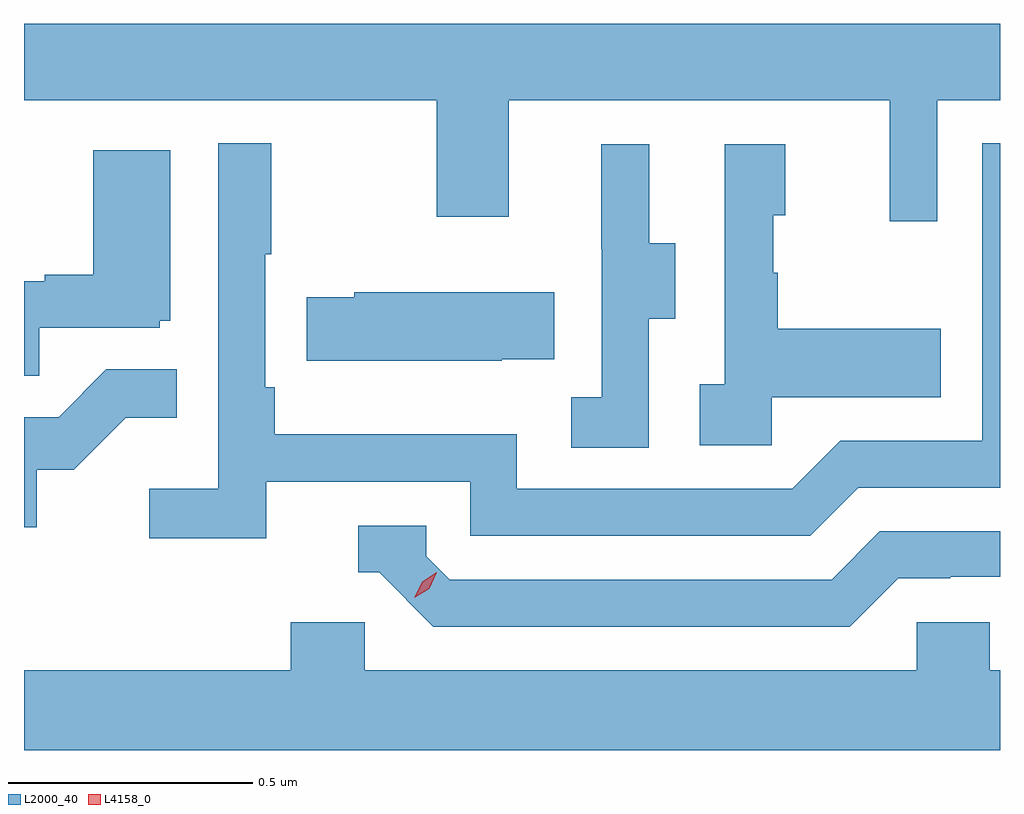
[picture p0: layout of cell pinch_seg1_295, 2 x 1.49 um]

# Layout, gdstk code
import gdstk
lib = gdstk.Library(unit=1e-6, precision=1e-09)
def P(c, l, *ps):  # polygons
    for p in ps: c.add(gdstk.Polygon(p, *l))
L2000_40 = (2000, 40)
L4158_0 = (4158, 0)

pinch_seg1_295 = lib.new_cell('pinch_seg1_295')
P(pinch_seg1_295, L2000_40, [(924.537,547.736),(924.666,547.736),(924.666,547.892),(922.666,547.892),(922.666,547.736),(923.512,547.736),(923.512,547.497),(923.659,547.497),(923.659,547.736),(924.44,547.736),(924.44,547.488),(924.537,547.488)],
  [(923.162,546.954),(923.58,546.954),(923.58,546.843),(924.277,546.843),(924.376,546.942),(924.666,546.942),(924.666,547.647),(924.63,547.647),(924.63,547.038),(924.339,547.038),(924.24,546.939),(923.676,546.939),(923.676,547.051),(923.18,547.051),(923.18,547.147),(923.16,547.147),(923.16,547.42),(923.173,547.42),(923.173,547.648),(923.064,547.648),(923.064,546.94),(922.923,546.94),(922.923,546.838),(923.162,546.838)],
  [(924.198,547.127),(924.545,547.127),(924.545,547.267),(924.211,547.267),(924.211,547.382),(924.201,547.382),(924.201,547.5),(924.226,547.5),(924.226,547.645),(924.102,547.645),(924.102,547.154),(924.051,547.154),(924.051,547.029),(924.198,547.029)],
  [(923.946,547.288),(924.001,547.288),(924.001,547.443),(923.947,547.443),(923.947,547.645),(923.849,547.645),(923.849,547.431),(923.85,547.431),(923.85,547.127),(923.787,547.127),(923.787,547.024),(923.946,547.024)],
  [(922.697,547.269),(922.944,547.269),(922.944,547.284),(922.966,547.284),(922.966,547.633),(922.808,547.633),(922.808,547.378),(922.709,547.378),(922.709,547.365),(922.666,547.365),(922.666,547.171),(922.697,547.171)],
  [(923.645,547.205),(923.753,547.205),(923.753,547.342),(923.343,547.342),(923.343,547.332),(923.245,547.332),(923.245,547.202),(923.645,547.202)],
  [(922.692,546.978),(922.768,546.978),(922.875,547.085),(922.979,547.085),(922.979,547.184),(922.835,547.184),(922.737,547.086),(922.666,547.086),(922.666,546.861),(922.692,546.861)],
  [(924.457,546.756),(924.564,546.756),(924.564,546.759),(924.666,546.759),(924.666,546.852),(924.42,546.852),(924.321,546.753),(923.538,546.753),(923.49,546.801),(923.49,546.864),(923.351,546.864),(923.351,546.768),(923.394,546.768),(923.505,546.657),(924.358,546.657)],
  [(924.666,546.568),(924.645,546.568),(924.645,546.666),(924.495,546.666),(924.495,546.568),(923.364,546.568),(923.364,546.666),(923.213,546.666),(923.213,546.568),(922.666,546.568),(922.666,546.404),(924.666,546.404)])
P(pinch_seg1_295, L4158_0, [(923.466,546.716),(923.466,546.716),(923.482,546.749),(923.512,546.768),(923.512,546.768),(923.512,546.768),(923.496,546.735),(923.466,546.716)])

lib.write_gds('pinch_seg1_295.gds')
